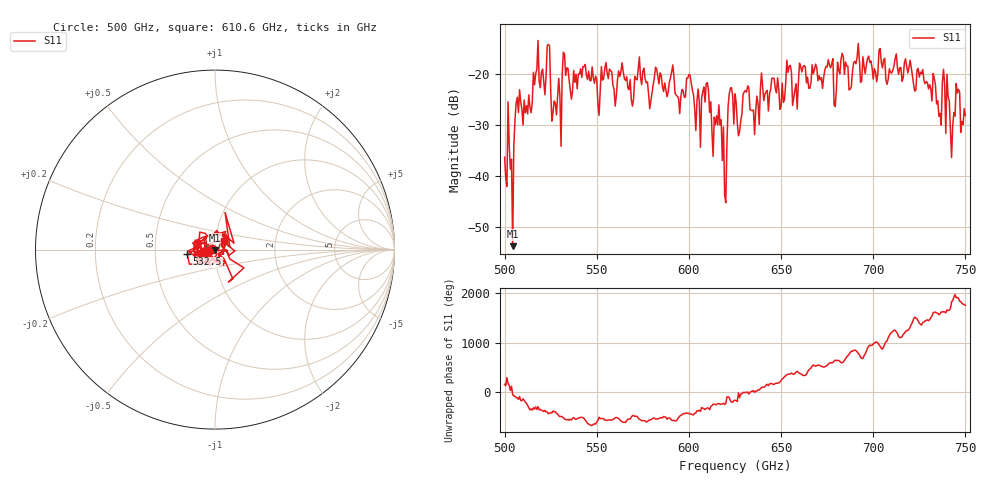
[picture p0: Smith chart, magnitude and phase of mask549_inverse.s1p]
!Created with skrf (http://scikit-rf.org).
# GHz S MA R 50.0
!freq magS11 angS11
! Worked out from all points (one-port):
!   401 points, 500 GHz to 750 GHz, reference 50 ohm
!   lowest |S11| = -53.9 dB at 504.4 GHz (marker M1), VSWR 1.00, Z = 50.1 - j0.143 ohm
!   |S11| at or under -10 dB: start of sweep to end of sweep
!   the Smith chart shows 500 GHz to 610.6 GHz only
!   S11 on the Smith chart (normalised r, x): 500 GHz: 0.97, +0.01; 532.5 GHz: 0.73, -0.04; 610.6 GHz: 1.10, +0.11
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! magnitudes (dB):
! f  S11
! 500 GHz  -36.3
! 504.4 GHz  -53.9
! 506.9 GHz  -24.5
! 513.8 GHz  -26.5
! 516.9 GHz  -19.9
! 523.8 GHz  -14.2
! 526.9 GHz  -25.3
! 531.2 GHz  -19.9
! 532.5 GHz  -16.1
! 550.6 GHz  -25.9
! 562.5 GHz  -20.5
! 579.4 GHz  -25.2
! 590.6 GHz  -19.6
! 593.8 GHz  -24.4
! 610.6 GHz  -23.2
! 617.5 GHz  -29.0
! 619.4 GHz  -43.8
! 622.5 GHz  -22.8
! 625 GHz  -23.9
! 656.2 GHz  -26.2
! 687.5 GHz  -23.0
! 691.2 GHz  -16.7
! 718.8 GHz  -19.8
! 735.6 GHz  -28.3
! 738.8 GHz  -22.0
! 743.1 GHz  -30.1
! 745.6 GHz  -23.7
! 750 GHz  -28.2
